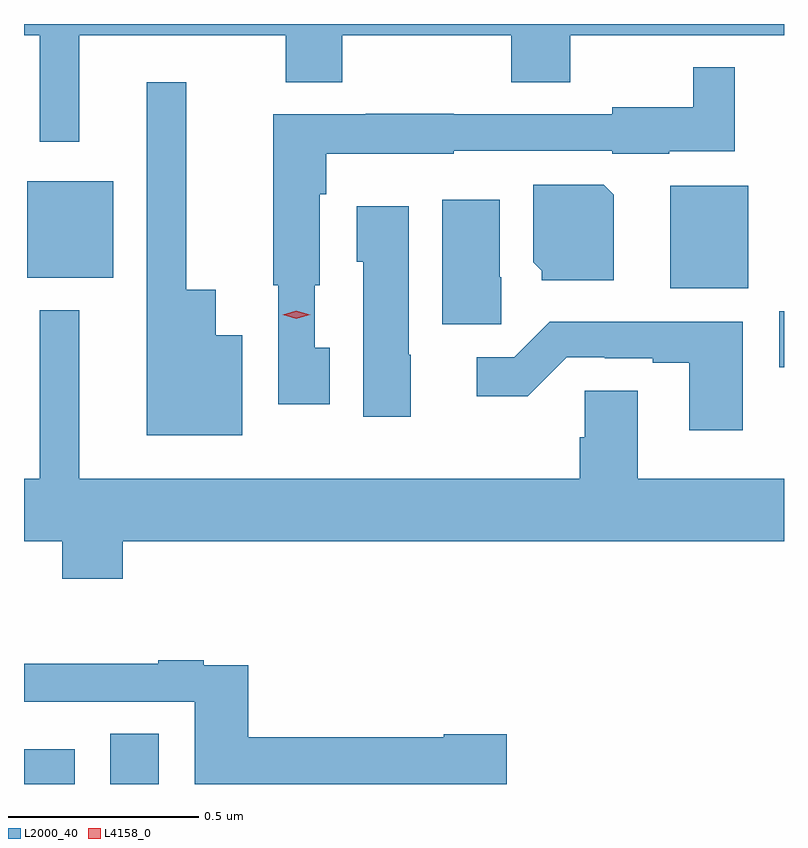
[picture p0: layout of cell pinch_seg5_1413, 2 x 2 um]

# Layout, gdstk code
import gdstk
lib = gdstk.Library(unit=1e-6, precision=1e-09)
def R(c, l, rs):  # rectangles x0, y0, x1, y1
    for r in rs: c.add(gdstk.rectangle(r[:2], r[2:], *l))
def P(c, l, *ps):  # polygons
    for p in ps: c.add(gdstk.Polygon(p, *l))
L2000_40 = (2000, 40)
L4158_0 = (4158, 0)

pinch_seg5_1413 = lib.new_cell('pinch_seg5_1413')
R(pinch_seg5_1413, L2000_40, [(183.114,910.733,183.247,910.825), (183.341,910.733,183.469,910.865), (185.102,911.83,185.114,911.977), (184.814,912.038,185.02,912.308), (183.122,912.065,183.349,912.319)])
P(pinch_seg5_1413, L2000_40, [(183.259,912.704),(183.803,912.704),(183.803,912.58),(183.951,912.58),(183.951,912.704),(184.396,912.704),(184.396,912.58),(184.551,912.58),(184.551,912.704),(185.114,912.704),(185.114,912.733),(183.114,912.733),(183.114,912.704),(183.155,912.704),(183.155,912.423),(183.259,912.423)],
  [(183.919,911.881),(183.879,911.881),(183.879,912.045),(183.892,912.045),(183.892,912.285),(183.91,912.285),(183.91,912.392),(184.245,912.392),(184.245,912.399),(184.662,912.399),(184.662,912.392),(184.812,912.392),(184.812,912.398),(184.985,912.398),(184.985,912.619),(184.875,912.619),(184.875,912.514),(184.662,912.514),(184.662,912.495),(184.245,912.495),(184.245,912.497),(184.013,912.497),(184.013,912.495),(183.77,912.495),(183.77,912.045),(183.783,912.045),(183.783,911.733),(183.919,911.733)],
  [(183.688,911.914),(183.619,911.914),(183.619,912.034),(183.541,912.034),(183.541,912.58),(183.437,912.58),(183.437,911.651),(183.688,911.651)],
  [(184.666,912.284),(184.64,912.31),(184.454,912.31),(184.454,912.106),(184.476,912.084),(184.476,912.059),(184.666,912.059)],
  [(184.37,912.066),(184.366,912.066),(184.366,912.271),(184.214,912.271),(184.214,911.943),(184.37,911.943)],
  [(184.132,911.862),(184.126,911.862),(184.126,912.253),(183.989,912.253),(183.989,912.108),(184.007,912.108),(184.007,911.7),(184.132,911.7)],
  [(183.374,911.372),(185.114,911.372),(185.114,911.536),(184.729,911.536),(184.729,911.768),(184.59,911.768),(184.59,911.646),(184.577,911.646),(184.577,911.536),(183.259,911.536),(183.259,911.98),(183.155,911.98),(183.155,911.536),(183.114,911.536),(183.114,911.372),(183.214,911.372),(183.214,911.273),(183.374,911.273)],
  [(185.005,911.95),(184.498,911.95),(184.404,911.856),(184.305,911.856),(184.305,911.754),(184.44,911.754),(184.542,911.856),(184.642,911.856),(184.642,911.853),(184.769,911.853),(184.769,911.841),(184.865,911.841),(184.865,911.664),(185.005,911.664)],
  [(184.385,910.864),(184.218,910.864),(184.218,910.856),(183.704,910.856),(183.704,911.046),(183.587,911.046),(183.587,911.059),(183.467,911.059),(183.467,911.049),(183.114,911.049),(183.114,910.95),(183.563,910.95),(183.563,910.733),(184.385,910.733)])
P(pinch_seg5_1413, L4158_0, [(183.831,911.958),(183.795,911.968),(183.795,911.968),(183.795,911.968),(183.831,911.978),(183.867,911.968),(183.867,911.968),(183.867,911.968)])

lib.write_gds('pinch_seg5_1413.gds')
